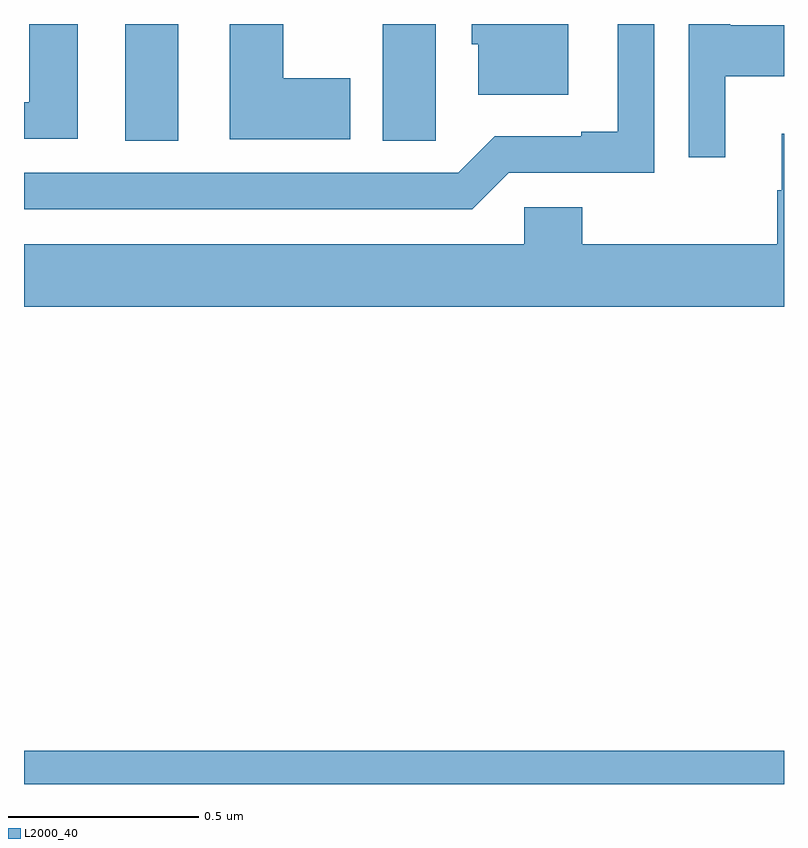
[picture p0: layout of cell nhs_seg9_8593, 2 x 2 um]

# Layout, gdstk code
import gdstk
lib = gdstk.Library(unit=1e-6, precision=1e-09)
def R(c, l, rs):  # rectangles x0, y0, x1, y1
    for r in rs: c.add(gdstk.rectangle(r[:2], r[2:], *l))
def P(c, l, *ps):  # polygons
    for p in ps: c.add(gdstk.Polygon(p, *l))
L2000_40 = (2000, 40)

nhs_seg9_8593 = lib.new_cell('nhs_seg9_8593')
R(nhs_seg9_8593, L2000_40, [(219,1192.5,221,1192.588), (219.266,1194.193,219.406,1194.5)])
P(nhs_seg9_8593, L2000_40, [(220.846,1194.362),(221,1194.362),(221,1194.497),(220.858,1194.497),(220.858,1194.5),(220.749,1194.5),(220.749,1194.15),(220.846,1194.15)],
  [(220.275,1194.108),(220.659,1194.108),(220.659,1194.5),(220.562,1194.5),(220.562,1194.217),(220.466,1194.217),(220.466,1194.204),(220.239,1194.204),(220.143,1194.108),(219,1194.108),(219,1194.012),(220.179,1194.012)],
  [(220.083,1194.304),(220.084,1194.304),(220.084,1194.5),(219.944,1194.5),(219.944,1194.193),(220.083,1194.193)],
  [(220.432,1194.5),(220.178,1194.5),(220.178,1194.447),(220.196,1194.447),(220.196,1194.314),(220.432,1194.314)],
  [(219.142,1194.5),(219.014,1194.5),(219.014,1194.294),(219,1194.294),(219,1194.198),(219.142,1194.198)],
  [(219.859,1194.357),(219.682,1194.357),(219.682,1194.5),(219.542,1194.5),(219.542,1194.197),(219.859,1194.197)],
  [(221,1194.211),(220.994,1194.211),(220.994,1194.062),(220.982,1194.062),(220.982,1193.92),(220.469,1193.92),(220.469,1194.018),(220.317,1194.018),(220.317,1193.92),(219,1193.92),(219,1193.756),(221,1193.756)])

lib.write_gds('nhs_seg9_8593.gds')
